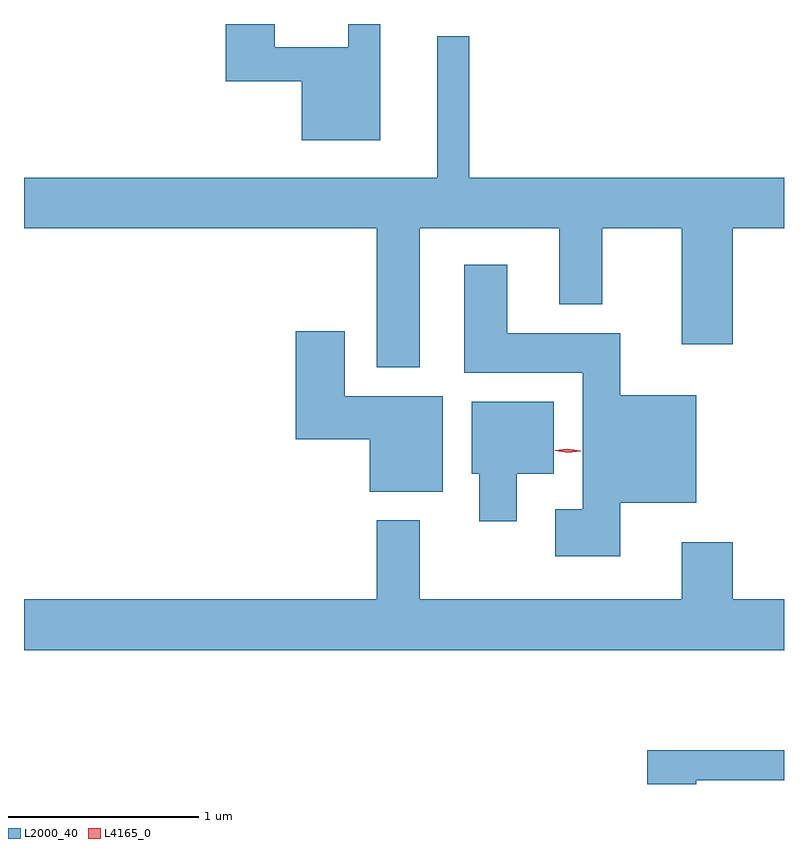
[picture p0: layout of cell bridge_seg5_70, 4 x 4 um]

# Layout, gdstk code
import gdstk
lib = gdstk.Library(unit=1e-6, precision=1e-09)
def P(c, l, *ps):  # polygons
    for p in ps: c.add(gdstk.Polygon(p, *l))
L2000_40 = (2000, 40)
L4165_0 = (4165, 0)

bridge_seg5_70 = lib.new_cell('bridge_seg5_70')
P(bridge_seg5_70, L2000_40, [(1292.409,1528.912),(1292.241,1528.912),(1292.241,1528.789),(1291.854,1528.789),(1291.854,1528.912),(1291.596,1528.912),(1291.596,1528.611),(1291.996,1528.611),(1291.996,1528.301),(1292.409,1528.301)],
  [(1292.619,1527.836),(1293.351,1527.836),(1293.351,1527.436),(1293.579,1527.436),(1293.579,1527.836),(1293.996,1527.836),(1293.996,1527.226),(1294.264,1527.226),(1294.264,1527.836),(1294.535,1527.836),(1294.535,1528.104),(1292.879,1528.104),(1292.879,1528.848),(1292.711,1528.848),(1292.711,1528.104),(1290.535,1528.104),(1290.535,1527.836),(1292.391,1527.836),(1292.391,1527.106),(1292.619,1527.106)],
  [(1293.674,1526.391),(1294.074,1526.391),(1294.074,1526.959),(1293.674,1526.959),(1293.674,1527.284),(1293.079,1527.284),(1293.079,1527.644),(1292.851,1527.644),(1292.851,1527.076),(1293.476,1527.076),(1293.476,1526.359),(1293.331,1526.359),(1293.331,1526.111),(1293.674,1526.111)],
  [(1292.739,1526.954),(1292.224,1526.954),(1292.224,1527.294),(1291.966,1527.294),(1291.966,1526.726),(1292.356,1526.726),(1292.356,1526.451),(1292.739,1526.451)],
  [(1293.129,1526.546),(1293.324,1526.546),(1293.324,1526.924),(1292.891,1526.924),(1292.891,1526.546),(1292.931,1526.546),(1292.931,1526.296),(1293.129,1526.296)],
  [(1294.535,1525.884),(1294.264,1525.884),(1294.264,1526.184),(1293.996,1526.184),(1293.996,1525.884),(1292.619,1525.884),(1292.619,1526.299),(1292.391,1526.299),(1292.391,1525.884),(1290.535,1525.884),(1290.535,1525.616),(1294.535,1525.616)],
  [(1294.074,1524.931),(1294.535,1524.931),(1294.535,1525.089),(1293.816,1525.089),(1293.816,1524.912),(1294.074,1524.912)])
P(bridge_seg5_70, L4165_0, [(1293.398,1526.656),(1293.332,1526.667),(1293.331,1526.667),(1293.332,1526.668),(1293.398,1526.676),(1293.464,1526.666),(1293.464,1526.665),(1293.464,1526.664)])

lib.write_gds('bridge_seg5_70.gds')
